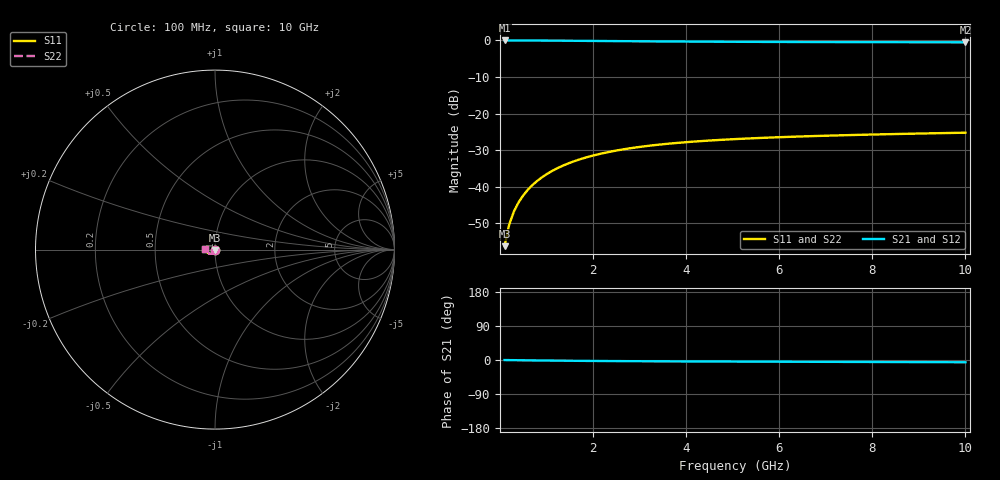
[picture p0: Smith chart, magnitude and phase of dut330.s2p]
! Touchstone file exported from HFSS 2024.1.0
!  File:  C:/UserFiles/LocalFiles/RDL_TSV_Batchsim/temp_TSV1_330_1779617729.aedt
!  Generated:  06:22:31 PM May 24, 2026
!  Design:  TSV1
!  Project:  temp_TSV1_330_1779617729
!  Setup:  Setup1
!  Solution:  Sweep
! Variables:
!  dtsv = 11um
!  hbump = 3um
!  htsv = 93.72um
!  lrdl = 252.1521522um
!  p = 40
!  p1 = 54.79um
!  t = 500um
!  trdl = 3um
!  wrdl = 24.89489489um
# GHz S MA R 50.000000
! Terminal data exported
! Port[1] = TSV22_T1
! Port[2] = TSV22_T2
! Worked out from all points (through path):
!   100 points, 100 MHz to 10 GHz, reference 50 ohm
!   highest |S21| = 0.00 dB at 100 MHz (marker M1); lowest = -0.5 dB at 10 GHz (marker M2)
!   lowest |S11| = -56.3 dB at 100 MHz (marker M3), VSWR 1.00, Z = 50 - j0.153 ohm
!   |S11| at or under -10 dB: start of sweep to end of sweep
!   |S22| runs from -56.3 to -25.3 dB; largest |S21 - S12| = 6.2e-15
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0.1  0.001527 -87.0  0.9998 -0.2  0.9998 -0.2  0.001527 -87.0
! Gamma 0 0 0 0
! Port Impedance 50 0 50 0
0.2  0.003046 -91.2  0.9996 -0.3  0.9996 -0.3  0.003046 -91.2
0.3  0.004563 -93.8  0.9994 -0.5  0.9994 -0.5  0.004563 -93.8
0.4  0.006073 -96.1  0.999 -0.6  0.999 -0.6  0.006073 -96.1
0.5  0.007571 -98.2  0.9985 -0.7  0.9985 -0.7  0.007571 -98.2
0.6  0.009053 -100.3  0.998 -0.9  0.998 -0.9  0.009053 -100.3
0.7  0.01051 -102.3  0.9974 -1.0  0.9974 -1.0  0.01051 -102.3
0.8  0.01195 -104.2  0.9967 -1.2  0.9967 -1.2  0.01195 -104.2
0.9  0.01336 -106.1  0.9959 -1.3  0.9959 -1.3  0.01336 -106.1
1.1  0.01608 -109.8  0.9942 -1.5  0.9942 -1.5  0.01608 -109.8
1.4  0.01991 -115.0  0.9913 -1.9  0.9913 -1.9  0.01991 -115.0
1.6  0.02228 -118.4  0.9891 -2.1  0.9891 -2.1  0.02228 -118.4
1.8  0.0245 -121.6  0.987 -2.3  0.987 -2.3  0.0245 -121.6
2.1  0.02754 -126.1  0.9836 -2.6  0.9836 -2.6  0.02754 -126.1
2.5  0.03111 -131.6  0.9792 -2.9  0.9792 -2.9  0.03111 -131.6
2.9  0.03416 -136.7  0.9751 -3.2  0.9751 -3.2  0.03416 -136.7
3.4  0.03737 -142.3  0.9704 -3.4  0.9704 -3.4  0.03737 -142.3
4.2  0.0414 -150.1  0.964 -3.8  0.964 -3.8  0.0414 -150.1
5.1  0.04478 -157.5  0.9583 -4.2  0.9583 -4.2  0.04478 -157.5
6.7  0.04902 -168.1  0.9513 -4.8  0.9513 -4.8  0.04902 -168.1
8.4  0.0522 -177.0  0.9464 -5.4  0.9464 -5.4  0.0522 -177.0
10  0.05461 175.9  0.9433 -6.0  0.9433 -6.0  0.05461 175.9
